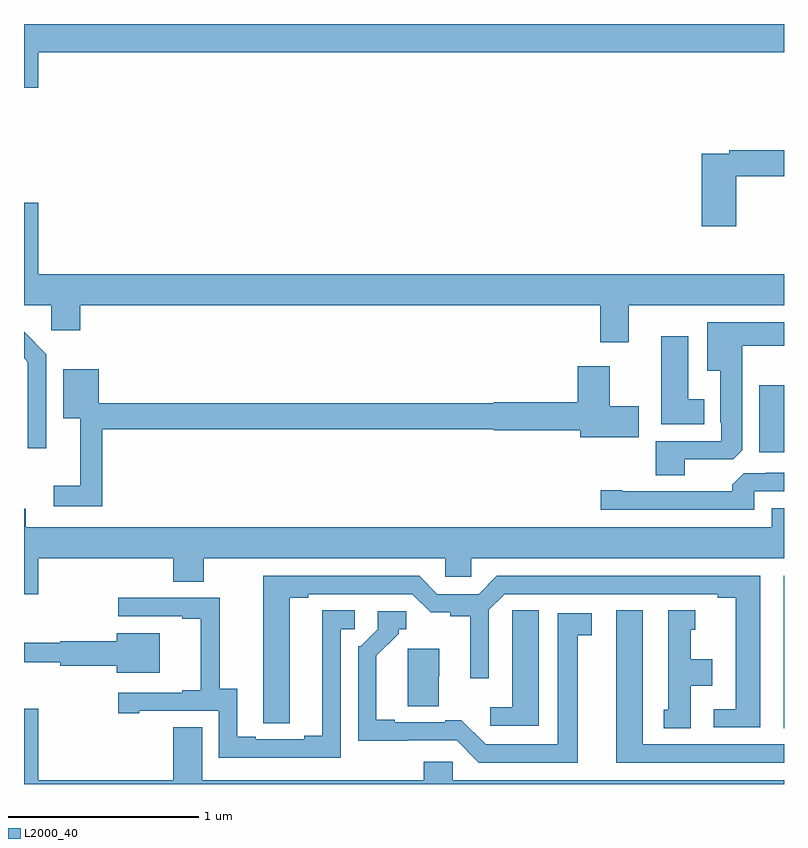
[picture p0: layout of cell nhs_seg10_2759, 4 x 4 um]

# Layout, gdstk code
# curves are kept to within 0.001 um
import gdstk
lib = gdstk.Library(unit=1e-6, precision=1e-09)
def R(c, l, rs):  # rectangles x0, y0, x1, y1
    for r in rs: c.add(gdstk.rectangle(r[:2], r[2:], *l))
def P(c, l, *ps):  # polygons
    for p in ps: c.add(gdstk.Polygon(p, *l))
L2000_40 = (2000, 40)

nhs_seg10_2759 = lib.new_cell('nhs_seg10_2759')
R(nhs_seg10_2759, L2000_40, [(264.998,1260.793,265,1261.596), (264.869,1262.246,265,1262.599)])
P(nhs_seg10_2759, L2000_40, [(261.076,1264.352),(265,1264.352),(265,1264.5),(261,1264.5),(261,1264.164),(261.076,1264.164)],
  [(264.749,1263.7),(265,1263.7),(265,1263.836),(264.712,1263.836),(264.712,1263.816),(264.566,1263.816),(264.566,1263.435),(264.749,1263.435)],
  [(264.184,1263.02),(265,1263.02),(265,1263.184),(261.076,1263.184),(261.076,1263.559),(261,1263.559),(261,1263.02),(261.144,1263.02),(261.144,1262.889),(261.296,1262.889),(261.296,1263.02),(264.032,1263.02),(264.032,1262.826),(264.184,1262.826)],
  [(264.478,1262.208),(264.732,1262.208),(264.781,1262.257),(264.781,1262.807),(265,1262.807),(265,1262.929),(264.596,1262.929),(264.596,1262.675),(264.665,1262.675),(264.665,1262.401),(264.669,1262.401),(264.669,1262.304),(264.326,1262.304),(264.326,1262.125),(264.478,1262.125)],
  [(261.117,1262.763),(261,1262.88),(261,1262.742),(261.021,1262.721),(261.021,1262.268),(261.117,1262.268)],
  [(264.58,1262.524),(264.496,1262.524),(264.496,1262.857),(264.353,1262.857),(264.353,1262.393),(264.58,1262.393)],
  [(261.413,1262.368),(263.472,1262.368),(263.472,1262.363),(263.927,1262.363),(263.927,1262.324),(264.235,1262.324),(264.235,1262.487),(264.082,1262.487),(264.082,1262.698),(263.915,1262.698),(263.915,1262.51),(263.472,1262.51),(263.472,1262.504),(261.393,1262.504),(261.393,1262.683),(261.206,1262.683),(261.206,1262.426),(261.296,1262.426),(261.296,1262.071),(261.156,1262.071),(261.156,1261.962),(261.413,1261.962)],
  [(264.843,1262.04),(265,1262.04),(265,1262.137),(264.789,1262.136),(264.728,1262.074),(264.728,1262.04),(264.148,1262.04),(264.148,1262.045),(264.036,1262.045),(264.036,1261.944),(264.843,1261.944)],
  [(261.076,1261.688),(261.785,1261.688),(261.785,1261.564),(261.945,1261.564),(261.945,1261.688),(263.217,1261.688),(263.217,1261.59),(263.355,1261.59),(263.355,1261.688),(265,1261.688),(265,1261.951),(264.935,1261.951),(264.935,1261.852),(261.01,1261.852),(261.01,1261.95),(261,1261.95),(261,1261.5),(261.076,1261.5)],
  [(264.874,1261.596),(263.489,1261.596),(263.393,1261.5),(263.175,1261.5),(263.079,1261.596),(262.259,1261.596),(262.26,1260.82),(262.399,1260.82),(262.399,1261.48),(262.495,1261.48),(262.495,1261.5),(263.043,1261.5),(263.141,1261.403),(263.244,1261.403),(263.244,1261.384),(263.348,1261.384),(263.348,1261.056),(263.445,1261.056),(263.445,1261.416),(263.529,1261.5),(264.65,1261.5),(264.65,1261.48),(264.746,1261.48),(264.746,1260.894),(264.63,1260.894),(264.63,1260.798),(264.874,1260.798)],
  [(262.668,1261.314),(262.741,1261.314),(262.741,1261.415),(262.571,1261.415),(262.571,1260.755),(262.475,1260.755),(262.475,1260.735),(262.219,1260.735),(262.219,1260.75),(262.123,1260.75),(262.123,1261.001),(262.029,1261.001),(262.029,1261.479),(261.495,1261.479),(261.495,1261.383),(261.833,1261.383),(261.833,1261.371),(261.929,1261.371),(261.929,1260.994),(261.833,1260.994),(261.833,1260.981),(261.495,1260.981),(261.495,1260.873),(261.607,1260.873),(261.607,1260.885),(262.026,1260.885),(262.026,1260.639),(262.668,1260.639)],
  [(263.71,1261.415),(263.571,1261.415),(263.571,1261.307),(263.57,1261.307),(263.57,1260.904),(263.454,1260.904),(263.454,1260.807),(263.71,1260.807)],
  [(264.508,1261.016),(264.622,1261.016),(264.622,1261.156),(264.508,1261.156),(264.508,1261.311),(264.532,1261.311),(264.532,1261.414),(264.392,1261.414),(264.392,1260.891),(264.368,1260.891),(264.368,1260.793),(264.508,1260.793)],
  [(265,1260.708),(264.256,1260.708),(264.256,1261.414),(264.116,1261.414),(264.116,1260.612),(265,1260.612)],
  [(263.914,1261.282),(263.989,1261.282),(263.989,1261.398),(263.81,1261.398),(263.81,1260.708),(263.43,1260.708),(263.302,1260.836),(263.216,1260.836),(263.216,1260.825),(262.951,1260.825),(262.951,1260.838),(262.855,1260.838),(262.855,1261.174),(262.972,1261.291),(262.972,1261.314),(263.011,1261.314),(263.011,1261.41),(262.863,1261.41),(262.863,1261.314),(262.773,1261.224),(262.758,1261.224),(262.758,1260.728),(263.277,1260.729),(263.394,1260.612),(263.914,1260.612)],
  [(261.715,1261.294),(261.488,1261.294),(261.488,1261.252),(261.192,1261.252),(261.192,1261.244),(261,1261.244),(261,1261.141),(261.192,1261.141),(261.192,1261.123),(261.488,1261.123),(261.488,1261.085),(261.715,1261.085)],
  [(263.184,1261.068),(263.185,1261.068),(263.185,1261.213),(263.021,1261.213),(263.021,1260.91),(263.184,1260.91)],
  [(265,1260.52),(263.256,1260.52),(263.256,1260.618),(263.105,1260.618),(263.105,1260.52),(261.937,1260.52),(261.937,1260.8),(261.785,1260.8),(261.785,1260.52),(261.076,1260.52),(261.076,1260.895),(261,1260.895),(261,1260.5),(265,1260.5)])

lib.write_gds('nhs_seg10_2759.gds')
